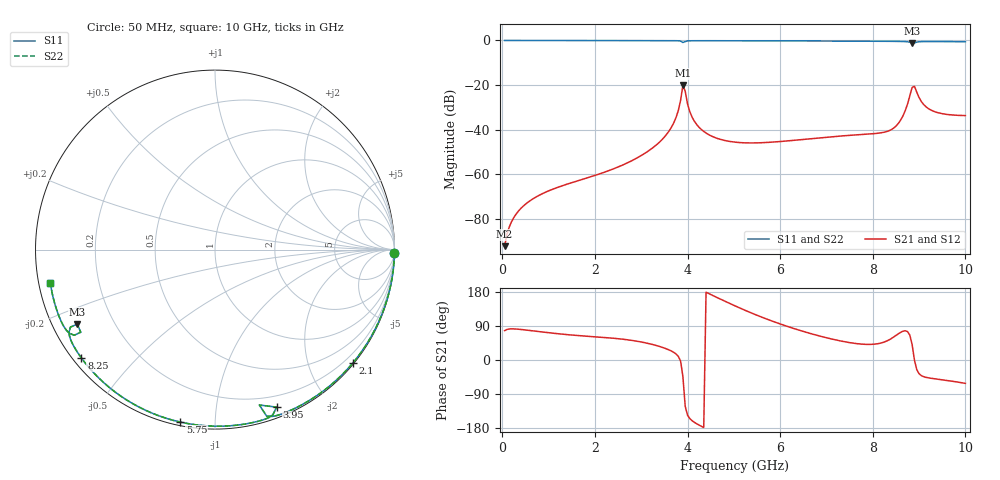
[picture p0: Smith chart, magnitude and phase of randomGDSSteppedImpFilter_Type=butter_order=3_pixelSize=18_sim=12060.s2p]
! freq	dB(S11)	phase(S11)	dB(S12)	phase(S12)
!  dB(S21)	phase(S21)	dB(S22)	phase(S22)
!S-par simulation data
#  GHz  S  DB  R 50
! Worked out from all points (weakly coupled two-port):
!   200 points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, 50 MHz to 10 GHz, reference 50 ohm
!   highest |S21| = -20.10 dB at 3.9 GHz (marker M1); lowest = -92.3 dB at 50 MHz (marker M2)
!   lowest |S11| = -1.2 dB at 8.85 GHz (marker M3), VSWR 14.71, Z = 3.62 - j12.6 ohm
!   |S11| at or under -10 dB: nowhere
!   |S22| runs from -1.2 to 0.0 dB; largest |S21 - S12| = 0
!   S11 on the Smith chart (normalised r, x): 50 MHz: open; 2.1 GHz: 0.03, -2.79; 3.95 GHz: 0.09, -1.46; 5.75 GHz: 0.02, -0.82; 8.25 GHz: 0.02, -0.35; 10 GHz: 0.03, -0.10
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0.05  -0.00 -1.0  -92.32 77.5  -92.32 77.5  -0.00 -1.0
0.25  -0.00 -4.8  -79.43 82.1  -79.43 82.1  -0.00 -4.8
0.8  -0.02 -15.3  -69.43 74.9  -69.43 74.9  -0.02 -15.3
1.75  -0.04 -33.0  -62.20 63.4  -62.20 63.4  -0.04 -33.0
2.1  -0.05 -39.4  -59.88 60.3  -59.88 60.3  -0.05 -39.4
2.9  -0.07 -53.9  -52.85 49.8  -52.85 49.8  -0.07 -53.9
3.4  -0.09 -62.9  -45.53 35.6  -45.53 35.6  -0.09 -62.9
3.75  -0.12 -69.7  -34.67 16.0  -34.67 16.0  -0.12 -69.7
3.85  -0.25 -72.8  -26.92 -2.6  -26.92 -2.6  -0.25 -72.8
3.9  -0.91 -74.1  -20.10 -43.9  -20.10 -43.9  -0.91 -74.1
3.95  -0.51 -68.6  -22.83 -122.4  -22.83 -122.4  -0.51 -68.6
4.05  -0.15 -72.3  -32.02 -154.7  -32.02 -154.7  -0.15 -72.3
4.25  -0.12 -76.4  -38.98 -171.8  -38.98 -171.8  -0.12 -76.4
5.05  -0.14 -90.1  -45.69 141.5  -45.69 141.5  -0.14 -90.1
5.75  -0.17 -101.4  -45.73 106.2  -45.73 106.2  -0.17 -101.4
6.7  -0.23 -116.5  -44.01 68.3  -44.01 68.3  -0.23 -116.5
8.25  -0.37 -141.0  -41.16 47.6  -41.16 47.6  -0.37 -141.0
8.35  -0.38 -142.6  -40.51 53.0  -40.51 53.0  -0.38 -142.6
8.65  -0.47 -148.1  -33.91 75.9  -33.91 75.9  -0.47 -148.1
8.85  -1.18 -151.6  -21.06 40.4  -21.06 40.4  -1.18 -151.6
9.25  -0.49 -155.5  -31.18 -48.1  -31.18 -48.1  -0.49 -155.5
10  -0.57 -168.5  -33.72 -61.7  -33.72 -61.7  -0.57 -168.5
